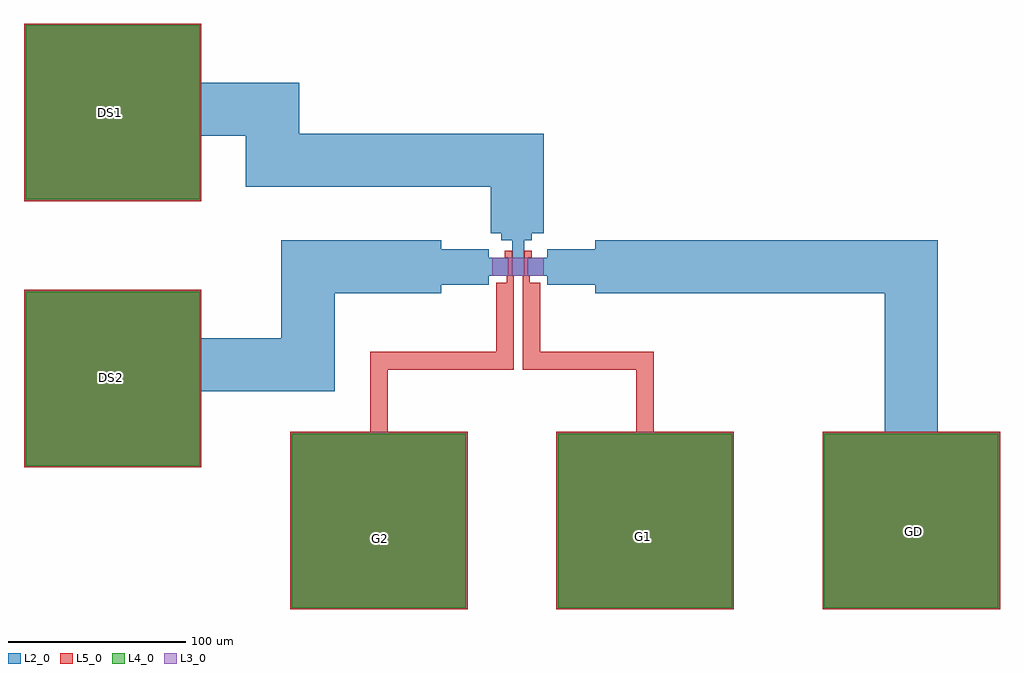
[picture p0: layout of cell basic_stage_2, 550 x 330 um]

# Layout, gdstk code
import gdstk
lib = gdstk.Library(unit=1e-6, precision=5e-10)
def R(c, l, rs):  # rectangles x0, y0, x1, y1
    for r in rs: c.add(gdstk.rectangle(r[:2], r[2:], *l))
L2_0 = (2, 0)
L3_0 = (3, 0)
L4_0 = (4, 0)
L5_0 = (5, 0)

pad_100 = lib.new_cell('PAD_100')
R(pad_100, L2_0, [(0,0,100,100)])
R(pad_100, L4_0, [(1,1,99,99)])
R(pad_100, L5_0, [(0,0,100,100)])

basic_stage_2 = lib.new_cell('basic_stage_2')
R(basic_stage_2, L2_0, [(112,18,123,28), (125,18,132,28), (134,18,145,28), (125,22,132,45), (119,38,136,48)])
R(basic_stage_2, L3_0, [(114,18,143,28)])
R(basic_stage_2, L5_0, [(116,-1,126,14), (131,-1,141,14), (122,14,126,18), (131,14,135,18), (123,16.9,125,28.5), (132,16.9,134,28.5), (121,28,125,32), (132,28,136,32)])
basic_stage_2.add(gdstk.FlexPath([(128,42),(128,83),(-10,83),(-10,111.8),(-70,111.8)], 30, ends="flush", simple_path=True, layer=2, datatype=0))  # L2_0
basic_stage_2.add(gdstk.FlexPath([(85,23),(10,23),(10,-32.2),(-80,-32.2)], 30, ends="flush", simple_path=True, layer=2, datatype=0))  # L2_0
basic_stage_2.add(gdstk.FlexPath([(172,23),(350,23),(350,-100)], 30, ends="flush", simple_path=True, layer=2, datatype=0))  # L2_0
basic_stage_2.add(gdstk.FlexPath([(85,23),(112,23)], 20, ends="flush", simple_path=True, layer=2, datatype=0))  # L2_0
basic_stage_2.add(gdstk.FlexPath([(145,23),(172,23)], 20, ends="flush", simple_path=True, layer=2, datatype=0))  # L2_0
basic_stage_2.add(gdstk.FlexPath([(121,0),(121,-30),(50,-30),(50,-85)], 10, ends="flush", simple_path=True, layer=5, datatype=0))  # L5_0
basic_stage_2.add(gdstk.FlexPath([(136,0),(136,-30),(200,-30),(200,-86)], 10, ends="flush", simple_path=True, layer=5, datatype=0))  # L5_0
basic_stage_2.add(gdstk.Reference(pad_100, (-150,60)))
basic_stage_2.add(gdstk.Reference(pad_100, (150,-170)))
basic_stage_2.add(gdstk.Reference(pad_100, (300,-170)))
basic_stage_2.add(gdstk.Reference(pad_100, (-150,-90)))
basic_stage_2.add(gdstk.Reference(pad_100, (0,-170)))
basic_stage_2.add(gdstk.Label('G2', (51,-130), layer=5, texttype=251))
basic_stage_2.add(gdstk.Label('G1', (199,-129), layer=5, texttype=251))
basic_stage_2.add(gdstk.Label('DS2', (-100.7,-39.5), layer=5, texttype=251))
basic_stage_2.add(gdstk.Label('DS1', (-101,110), layer=5, texttype=251))
basic_stage_2.add(gdstk.Label('GD', (351,-126), layer=5, texttype=251))

lib.write_gds('basic_stage_2.gds')
